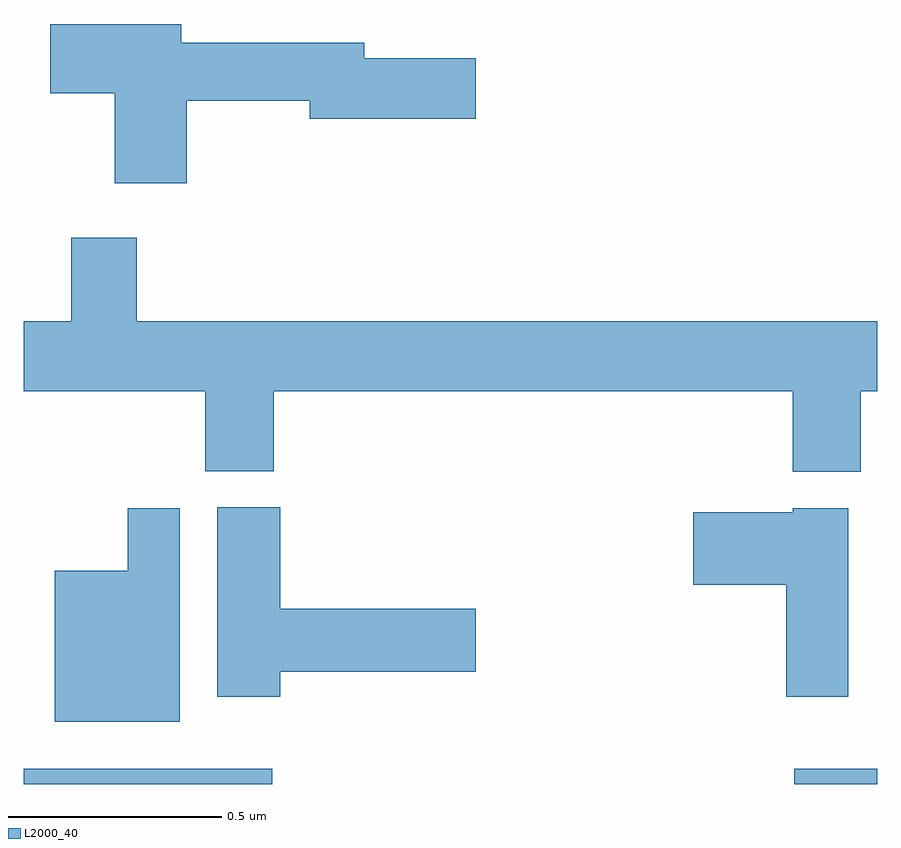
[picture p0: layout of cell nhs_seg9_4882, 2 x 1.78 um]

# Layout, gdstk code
import gdstk
lib = gdstk.Library(unit=1e-6, precision=1e-09)
def R(c, l, rs):  # rectangles x0, y0, x1, y1
    for r in rs: c.add(gdstk.rectangle(r[:2], r[2:], *l))
def P(c, l, *ps):  # polygons
    for p in ps: c.add(gdstk.Polygon(p, *l))
L2000_40 = (2000, 40)

nhs_seg9_4882 = lib.new_cell('nhs_seg9_4882')
R(nhs_seg9_4882, L2000_40, [(172,1195.5,172.582,1195.536), (173.805,1195.5,174,1195.536)])
P(nhs_seg9_4882, L2000_40, [(172.382,1197.1),(172.67,1197.1),(172.67,1197.058),(173.059,1197.058),(173.059,1197.2),(172.798,1197.2),(172.798,1197.236),(172.369,1197.236),(172.369,1197.28),(172.062,1197.28),(172.062,1197.118),(172.214,1197.118),(172.214,1196.907),(172.382,1196.907)],
  [(173.961,1196.42),(174,1196.42),(174,1196.584),(172.265,1196.584),(172.265,1196.779),(172.112,1196.779),(172.112,1196.584),(172,1196.584),(172,1196.42),(172.426,1196.42),(172.426,1196.233),(172.586,1196.233),(172.586,1196.42),(173.801,1196.42),(173.801,1196.231),(173.961,1196.231)],
  [(172.601,1195.763),(173.059,1195.763),(173.059,1195.91),(172.601,1195.91),(172.601,1196.148),(172.454,1196.148),(172.454,1195.704),(172.601,1195.704)],
  [(172.366,1196.146),(172.244,1196.146),(172.244,1195.999),(172.073,1195.999),(172.073,1195.646),(172.366,1195.646)],
  [(173.932,1196.146),(173.802,1196.146),(173.802,1196.137),(173.568,1196.137),(173.568,1195.967),(173.786,1195.967),(173.786,1195.704),(173.932,1195.704)])

lib.write_gds('nhs_seg9_4882.gds')
